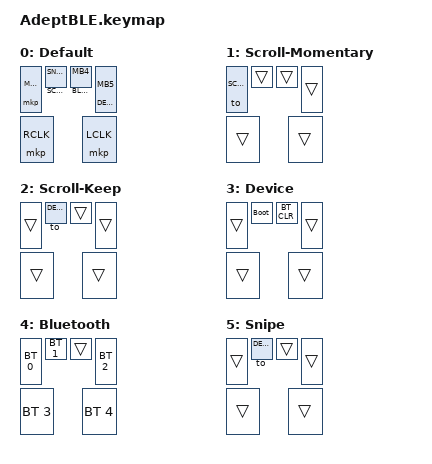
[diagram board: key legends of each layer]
#include <behaviors.dtsi>
#include <dt-bindings/zmk/bt.h>
#include <dt-bindings/zmk/keys.h>
#include <dt-bindings/zmk/pointing.h>
#include <dt-bindings/zmk/outputs.h>

// #include <dt-bindings/zmk/mouse.h>

#define DEFAULT 0
#define SCRLM 1
#define SCRLH 2
#define DEVICE 3
#define BLTH 4
#define SNIPE 5

/ {
  behaviors {
    ltm: layer-tap-momentary {
      compatible = "zmk,behavior-hold-tap";
      #binding-cells = <2>;
      flavor = "tap-preferred";
      tapping-term-ms = <200>;
      bindings = <&mo>, <&mkp>;
    };
    mto: momentary-or-toggle {
      compatible = "zmk,behavior-hold-tap";
      #binding-cells = <2>;
      flavor = "hold-preferred";
      hold-while-undecided;
      tapping-term-ms = <200>;
      bindings = <&mo>, <&to>;
    };
  };
  keymap {
    compatible = "zmk,keymap";
    default_layer {
      display-name = "Default";
      bindings = <
        &mkp MCLK &mto SCRLM SNIPE &ltm BLTH MB4 &ltm DEVICE MB5
        &mkp RCLK                                          &mkp LCLK
      >;
    };
    scroll_tap_layer {
      display-name = "Scroll-Momentary";
      bindings = <
        &to SCRLH &trans &trans &trans
        &trans               &trans
      >;
    };
    scroll_hold_layer {
      display-name = "Scroll-Keep";
      bindings = <
        &trans &to DEFAULT &trans &trans
        &trans               &trans
      >;
    };
    device_layer {
      display-name = "Device";
      bindings = <
        &trans &bootloader &bt BT_CLR &trans
        &trans                    &trans
      >;
    };
    bluetooth_layer {
      display-name = "Bluetooth";
      bindings = <
        &bt BT_SEL 0 &bt BT_SEL 1 &trans &bt BT_SEL 2
        &bt BT_SEL 3                     &bt BT_SEL 4
      >;
    };
    snipe_layer {
      display-name = "Snipe";
      bindings = <
        &trans &to DEFAULT &trans &trans
        &trans               &trans
      >;
    };
  };
};
